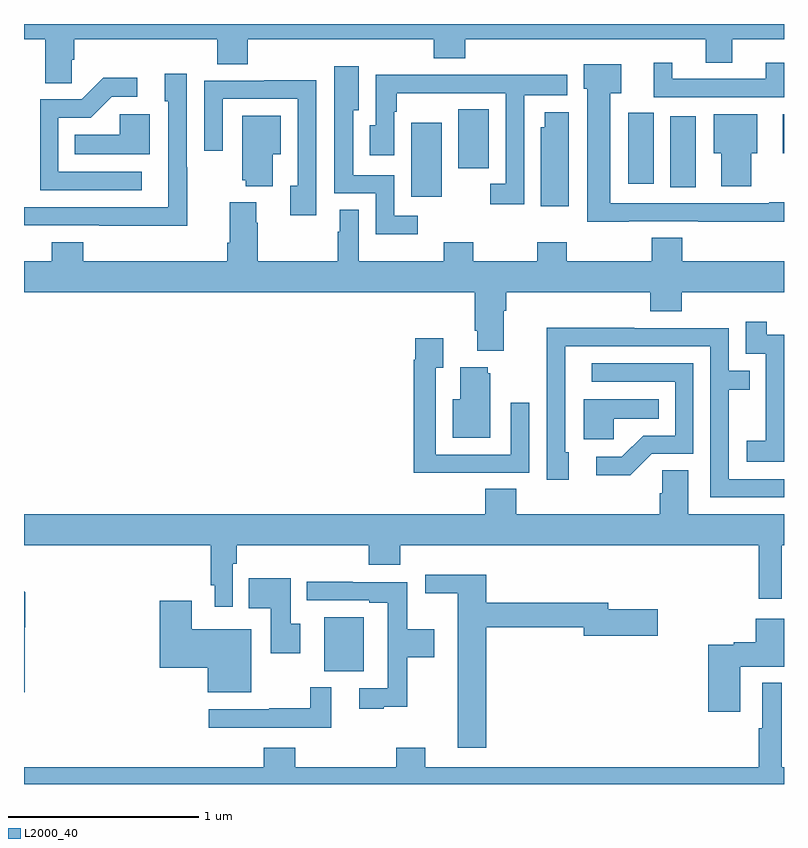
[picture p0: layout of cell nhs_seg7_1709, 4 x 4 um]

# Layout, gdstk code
import gdstk
lib = gdstk.Library(unit=1e-6, precision=1e-09)
def R(c, l, rs):  # rectangles x0, y0, x1, y1
    for r in rs: c.add(gdstk.rectangle(r[:2], r[2:], *l))
def P(c, l, *ps):  # polygons
    for p in ps: c.add(gdstk.Polygon(p, *l))
L2000_40 = (2000, 40)

nhs_seg7_1709 = lib.new_cell('nhs_seg7_1709')
R(nhs_seg7_1709, L2000_40, [(228.581,1026.593,228.787,1026.877), (229.037,1029.092,229.198,1029.481), (230.402,1029.142,230.536,1029.514), (230.18,1029.159,230.314,1029.534), (229.286,1029.24,229.447,1029.551), (230.993,1029.32,231,1029.526)])
P(nhs_seg7_1709, L2000_40, [(227.25,1029.811),(227.264,1029.811),(227.264,1029.92),(228.017,1029.92),(228.017,1029.787),(228.177,1029.787),(228.177,1029.92),(229.157,1029.92),(229.157,1029.821),(229.322,1029.821),(229.322,1029.92),(230.588,1029.92),(230.588,1029.796),(230.728,1029.796),(230.728,1029.92),(231,1029.92),(231,1030),(227,1030),(227,1029.92),(227.111,1029.92),(227.111,1029.688),(227.25,1029.688)],
  [(231,1029.796),(230.903,1029.796),(230.903,1029.711),(230.413,1029.711),(230.413,1029.796),(230.315,1029.796),(230.315,1029.615),(231,1029.615)],
  [(230.182,1028.961),(230.548,1028.961),(230.548,1028.96),(231,1028.96),(231,1029.062),(230.923,1029.062),(230.923,1029.057),(230.086,1029.057),(230.086,1029.635),(230.143,1029.635),(230.143,1029.787),(229.946,1029.787),(229.946,1029.66),(229.964,1029.66),(229.964,1028.96),(230.182,1028.96)],
  [(229.072,1028.991),(228.948,1028.991),(228.948,1029.204),(228.733,1029.204),(228.733,1029.545),(228.763,1029.545),(228.763,1029.778),(228.632,1029.778),(228.632,1029.108),(228.852,1029.108),(228.852,1028.894),(229.072,1028.894)],
  [(227.859,1029.245),(227.856,1029.245),(227.856,1029.739),(227.741,1029.739),(227.741,1029.594),(227.76,1029.594),(227.76,1029.287),(227.759,1029.287),(227.759,1029.036),(227,1029.036),(227,1028.94),(227.395,1028.94),(227.395,1028.939),(227.859,1028.939)],
  [(229.632,1029.626),(229.858,1029.626),(229.858,1029.734),(229.439,1029.734),(229.439,1029.732),(229.073,1029.732),(229.073,1029.734),(228.852,1029.734),(228.852,1029.468),(228.821,1029.468),(228.821,1029.309),(228.948,1029.309),(228.948,1029.539),(228.961,1029.539),(228.961,1029.635),(229.19,1029.635),(229.19,1029.636),(229.536,1029.636),(229.536,1029.159),(229.455,1029.159),(229.455,1029.051),(229.632,1029.051)],
  [(227.62,1029.222),(227.181,1029.222),(227.181,1029.507),(227.35,1029.507),(227.461,1029.618),(227.596,1029.618),(227.596,1029.716),(227.417,1029.716),(227.304,1029.603),(227.085,1029.603),(227.085,1029.126),(227.62,1029.126)],
  [(228.537,1029.704),(228.265,1029.704),(228.265,1029.702),(227.949,1029.702),(227.949,1029.333),(228.045,1029.333),(228.045,1029.606),(228.441,1029.606),(228.441,1029.15),(228.401,1029.15),(228.401,1028.994),(228.537,1028.994)],
  [(229.867,1029.535),(229.742,1029.535),(229.742,1029.456),(229.721,1029.456),(229.721,1029.042),(229.867,1029.042)],
  [(227.662,1029.526),(227.505,1029.526),(227.505,1029.418),(227.266,1029.418),(227.266,1029.314),(227.662,1029.314)],
  [(230.827,1029.32),(230.86,1029.32),(230.86,1029.526),(230.63,1029.526),(230.63,1029.32),(230.669,1029.32),(230.669,1029.147),(230.827,1029.147)],
  [(228.31,1029.314),(228.352,1029.314),(228.352,1029.517),(228.149,1029.517),(228.149,1029.177),(228.167,1029.177),(228.167,1029.146),(228.31,1029.146)],
  [(229.525,1028.492),(229.538,1028.492),(229.538,1028.588),(230.297,1028.588),(230.297,1028.489),(230.462,1028.489),(230.462,1028.588),(231,1028.588),(231,1028.752),(230.465,1028.752),(230.465,1028.876),(230.305,1028.876),(230.305,1028.752),(229.857,1028.752),(229.857,1028.851),(229.702,1028.851),(229.702,1028.752),(229.365,1028.752),(229.365,1028.851),(229.21,1028.851),(229.21,1028.752),(228.763,1028.752),(228.763,1029.023),(228.662,1029.023),(228.662,1028.906),(228.652,1028.906),(228.652,1028.752),(228.231,1028.752),(228.231,1028.954),(228.223,1028.954),(228.223,1029.061),(228.083,1029.061),(228.083,1028.848),(228.071,1028.848),(228.071,1028.752),(227.312,1028.752),(227.312,1028.851),(227.147,1028.851),(227.147,1028.752),(227,1028.752),(227,1028.588),(229.373,1028.588),(229.373,1028.386),(229.385,1028.386),(229.385,1028.279),(229.525,1028.279)],
  [(231,1028.364),(230.908,1028.364),(230.908,1028.434),(230.799,1028.434),(230.799,1028.265),(230.904,1028.265),(230.904,1028.036),(230.903,1028.036),(230.903,1027.807),(230.805,1027.807),(230.805,1027.697),(231,1027.697)],
  [(231,1027.605),(230.709,1027.605),(230.709,1028.074),(230.819,1028.074),(230.819,1028.175),(230.709,1028.175),(230.709,1028.4),(230.213,1028.4),(230.213,1028.402),(229.75,1028.402),(229.75,1028.095),(229.752,1028.095),(229.752,1027.602),(229.867,1027.602),(229.867,1027.746),(229.848,1027.746),(229.848,1028.053),(229.849,1028.053),(229.849,1028.304),(230.613,1028.304),(230.613,1027.509),(231,1027.509)],
  [(229.343,1027.638),(229.659,1027.638),(229.659,1028.007),(229.563,1028.007),(229.563,1027.734),(229.167,1027.734),(229.167,1028.191),(229.207,1028.191),(229.207,1028.347),(229.059,1028.347),(229.059,1028.234),(229.051,1028.234),(229.051,1027.637),(229.343,1027.637)],
  [(230.304,1027.737),(230.523,1027.737),(230.523,1028.214),(229.989,1028.214),(229.989,1028.118),(230.427,1028.118),(230.427,1027.833),(230.258,1027.833),(230.147,1027.722),(230.013,1027.722),(230.013,1027.625),(230.191,1027.625)],
  [(229.453,1028.163),(229.442,1028.163),(229.442,1028.194),(229.295,1028.194),(229.295,1028.026),(229.256,1028.026),(229.256,1027.823),(229.453,1027.823)],
  [(230.103,1027.922),(230.342,1027.922),(230.342,1028.026),(229.946,1028.026),(229.946,1027.814),(230.103,1027.814)],
  [(228.099,1027.16),(228.119,1027.16),(228.119,1027.256),(228.815,1027.256),(228.815,1027.154),(228.98,1027.154),(228.98,1027.256),(230.868,1027.256),(230.868,1026.975),(230.989,1026.975),(230.989,1027.256),(231,1027.256),(231,1027.42),(230.497,1027.42),(230.497,1027.652),(230.358,1027.652),(230.358,1027.529),(230.345,1027.529),(230.345,1027.42),(229.592,1027.42),(229.592,1027.553),(229.427,1027.553),(229.427,1027.42),(227,1027.42),(227,1027.256),(227.983,1027.256),(227.983,1027.045),(228.003,1027.045),(228.003,1026.933),(228.099,1026.933)],
  [(229.433,1026.826),(229.946,1026.826),(229.946,1026.779),(230.335,1026.779),(230.335,1026.921),(230.074,1026.921),(230.074,1026.955),(229.433,1026.955),(229.433,1027.102),(229.113,1027.102),(229.113,1027.004),(229.283,1027.004),(229.283,1026.192),(229.433,1026.192)],
  [(228.454,1026.843),(228.403,1026.843),(228.403,1027.084),(228.184,1027.084),(228.184,1026.926),(228.299,1026.926),(228.299,1026.687),(228.454,1026.687)],
  [(228.893,1026.407),(229.016,1026.407),(229.016,1026.667),(229.159,1026.667),(229.159,1026.814),(229.016,1026.814),(229.016,1027.062),(228.731,1027.062),(228.731,1027.064),(228.489,1027.064),(228.489,1026.966),(228.818,1026.966),(228.818,1026.954),(228.915,1026.954),(228.915,1026.504),(228.765,1026.504),(228.765,1026.396),(228.893,1026.396)],
  [(227.003,1026.826),(227.006,1026.826),(227.006,1027.008),(227,1027.014),(227,1026.483),(227.003,1026.483)],
  [(228.196,1026.814),(227.884,1026.814),(227.884,1026.964),(227.714,1026.964),(227.714,1026.611),(227.966,1026.611),(227.966,1026.482),(228.196,1026.482)],
  [(230.77,1026.617),(231,1026.617),(231,1026.871),(230.852,1026.871),(230.852,1026.746),(230.736,1026.746),(230.736,1026.733),(230.6,1026.733),(230.6,1026.381),(230.77,1026.381)],
  [(231,1026.088),(230.989,1026.088),(230.989,1026.532),(230.885,1026.532),(230.885,1026.293),(230.868,1026.293),(230.868,1026.088),(229.111,1026.088),(229.111,1026.19),(228.959,1026.19),(228.959,1026.088),(228.428,1026.088),(228.428,1026.19),(228.263,1026.19),(228.263,1026.088),(227,1026.088),(227,1026),(231,1026)],
  [(228.616,1026.508),(228.507,1026.508),(228.507,1026.398),(228.292,1026.398),(228.292,1026.393),(227.973,1026.393),(227.973,1026.297),(228.616,1026.297)])

lib.write_gds('nhs_seg7_1709.gds')
